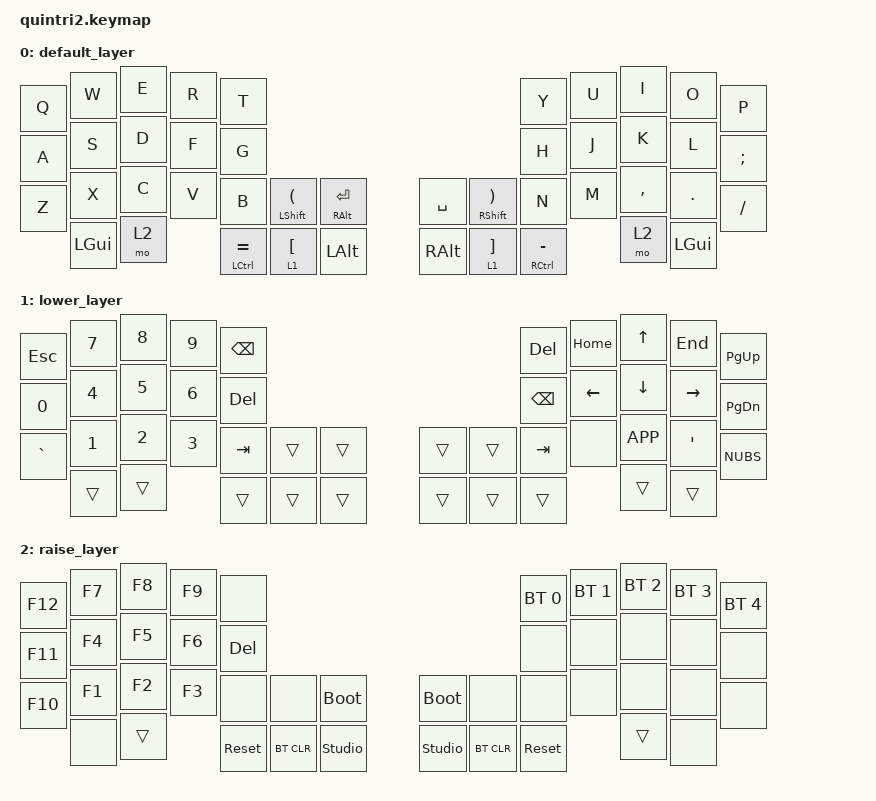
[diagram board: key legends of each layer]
@ -1,101 +1,86 @@
/*
 * Copyright (c) 2020 The ZMK Contributors
 *
 * SPDX-License-Identifier: MIT
 */

#include <behaviors.dtsi>
#include <dt-bindings/zmk/keys.h>
#include <dt-bindings/zmk/bt.h>

#define DEFAULT 0
#define LWR 1
#define RSE 2

/ {
    combos {
        compatible = "zmk,combos";

        esc {
            bindings = <&kp ESC>;
            key-positions = <0 1>;
        };

        space {
            bindings = <&kp SPACE>;
            key-positions = <11 12>;
        };

        tab {
            bindings = <&kp TAB>;
            key-positions = <10 11>;
        };

        enter {
            bindings = <&kp ENTER>;
            key-positions = <17 18>;
        };
    };

    keymap {
        compatible = "zmk,keymap";

        default_layer {
// ----------------------------------------------------------------------------------
// | Q |  W |  E  | R |    T   |                                    |    Y    | U |  I  |  O | P |
// | A |  S |  D  | F |    G   |                                    |    H    | J |  K  |  L | ; |
// | Z |  X |  C  | V |    B   |SHFT LPAR|RALT ENT|  |SPC |SHFT RPAR|    N    | M |  ,  |  . | / |
//     |LGUI|RAISE|   |CTRL EQL|LOW  LBKT|LALT    |  |RALT|LOW  RBKT|CTRL MINS|   |RAISE|LGUI|
            bindings = <
&kp Q  &kp W     &kp E  &kp R  &kp T                                                                       &kp Y            &kp U  &kp I      &kp O    &kp P
&kp A  &kp S     &kp D  &kp F  &kp G                                                                       &kp H            &kp J  &kp K      &kp L    &kp SEMI
&kp Z  &kp X     &kp C  &kp V  &kp B            &mt LSHFT LPAR  &mt RALT RET    &kp SPACE  &mt RSHFT RPAR  &kp N            &kp M  &kp COMMA  &kp DOT  &kp FSLH
       &kp LGUI  &mo 2         &mt LCTRL EQUAL  &lt 1 LBKT      &kp LALT        &kp RALT   &lt 1 RBKT      &mt RCTRL MINUS  &mo 2  &kp LGUI
            >;
        };

        lower_layer {
// ---------------------------------------------------------------------------------
// |ESC|  7 |  8  | 9 |BSPC    |                                    | DEL     |HOME| UP  | O  | P |
// | 0 |  4 |  5  | 6 | DEL    |                                    | BSPC    |LEFT|DOWN | L  | ; |
// | ` |  1 |  2  | 3 | TAB    |SHFT LPAR|RALT ENT|  |SPC |SHFT RPAR| TAB     |    | MEN | '  | \ |
//     |LGUI|RAISE|   |CTRL EQL|LOW  LBKT|LALT    |  |RALT|LOW  RBKT|CTRL MINS|    |RAISE|LGUI|
            bindings = <
&kp ESC    &kp N7  &kp N8  &kp N9  &kp BSPC                                    &kp DEL   &kp HOME  &kp UP     &kp END    &kp PG_UP
&kp N0     &kp N4  &kp N5  &kp N6  &kp DEL                                     &kp BSPC  &kp LEFT  &kp DOWN   &kp RIGHT  &kp PG_DN
&kp GRAVE  &kp N1  &kp N2  &kp N3  &kp TAB   &trans  &trans    &trans  &trans  &kp TAB   &none     &kp K_APP  &kp SQT    &kp NUBS
           &trans  &trans          &trans    &trans  &trans    &trans  &trans  &trans              &trans     &trans
            >;
        };

        raise_layer {
// |F12| F7 | F8  | F9 |        |                                    | BT0     |BT1| BT2 |BT3 |BT4 |
// |F11| F4 | F5  | F6 |  DEL   |                                    | BTCLR   |   |     |    |BLDR|
// |F10| F1 | F1  | F3 |        |SHFT LPAR|RALT ENT|  |SPC |SHFT RPAR| RST     |OUT|     |    |STU |
//     |LGUI|RAISE|    |CTRL EQL|LOW  LBKT|LALT    |  |RALT|LOW  RBKT|CTRL MINS|   |RAISE|LGUI|
            bindings = <
&kp F12  &kp F7  &kp F8  &kp F9  &none                                                                  &bt BT_SEL 0  &bt BT_SEL 1  &bt BT_SEL 2  &bt BT_SEL 3  &bt BT_SEL 4
&kp F11  &kp F4  &kp F5  &kp F6  &kp DEL                                                                &none         &none         &none         &none         &none
&kp F10  &kp F1  &kp F2  &kp F3  &none       &none       &bootloader        &bootloader     &none       &none         &none         &none         &none         &none
         &none   &trans          &sys_reset  &bt BT_CLR  &studio_unlock     &studio_unlock  &bt BT_CLR  &sys_reset                  &trans        &none
            >;
        };
    };
};
